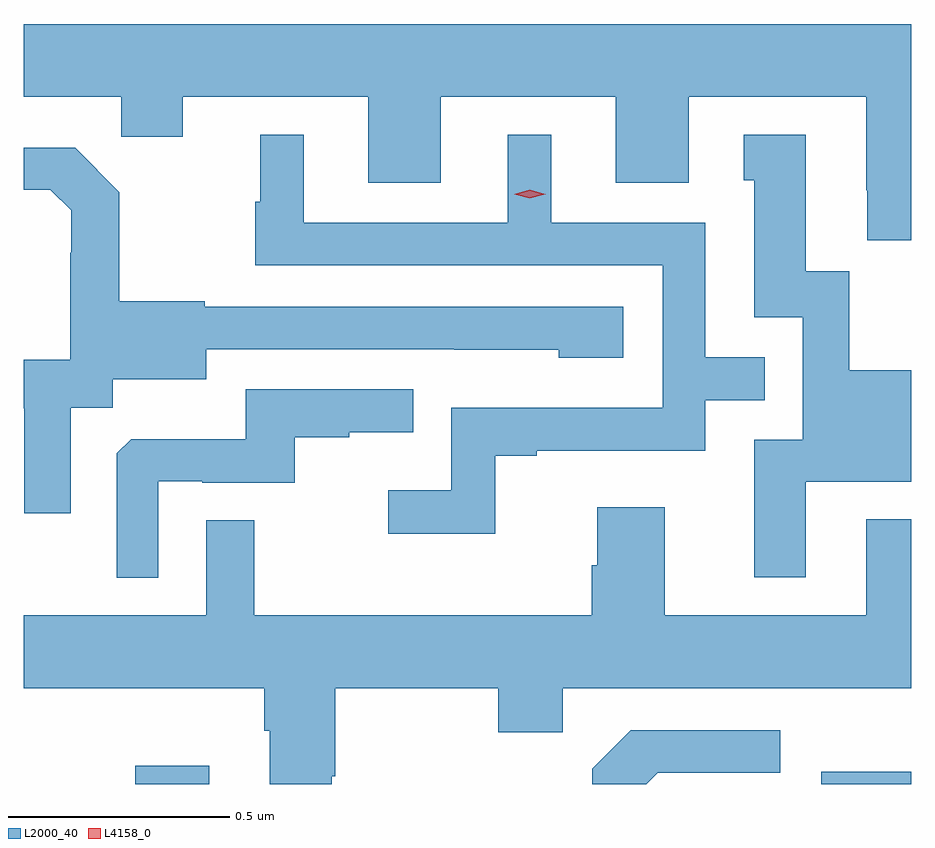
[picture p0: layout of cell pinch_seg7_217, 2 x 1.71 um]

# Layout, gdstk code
import gdstk
lib = gdstk.Library(unit=1e-6, precision=1e-09)
def R(c, l, rs):  # rectangles x0, y0, x1, y1
    for r in rs: c.add(gdstk.rectangle(r[:2], r[2:], *l))
def P(c, l, *ps):  # polygons
    for p in ps: c.add(gdstk.Polygon(p, *l))
L2000_40 = (2000, 40)
L4158_0 = (4158, 0)

pinch_seg7_217 = lib.new_cell('pinch_seg7_217')
R(pinch_seg7_217, L2000_40, [(717.686,1011.056,717.853,1011.097), (719.232,1011.056,719.435,1011.084)])
P(pinch_seg7_217, L2000_40, [(719.435,1012.768),(717.435,1012.768),(717.435,1012.604),(717.655,1012.604),(717.655,1012.514),(717.793,1012.514),(717.793,1012.604),(718.211,1012.604),(718.211,1012.41),(718.375,1012.41),(718.375,1012.604),(718.769,1012.604),(718.769,1012.41),(718.933,1012.41),(718.933,1012.604),(719.333,1012.604),(719.333,1012.393),(719.336,1012.393),(719.336,1012.281),(719.435,1012.281)],
  [(718.497,1011.795),(718.591,1011.795),(718.591,1011.807),(718.971,1011.807),(718.971,1011.921),(719.105,1011.921),(719.105,1012.017),(718.971,1012.017),(718.971,1012.32),(718.624,1012.32),(718.624,1012.519),(718.526,1012.519),(718.526,1012.32),(718.066,1012.32),(718.066,1012.519),(717.968,1012.519),(717.968,1012.368),(717.957,1012.368),(717.957,1012.224),(718.875,1012.224),(718.875,1011.903),(718.398,1011.903),(718.398,1011.718),(718.257,1011.718),(718.257,1011.62),(718.497,1011.62)],
  [(719.197,1011.737),(719.435,1011.737),(719.435,1011.988),(719.295,1011.988),(719.295,1012.211),(719.197,1012.211),(719.197,1012.519),(719.057,1012.519),(719.057,1012.416),(719.081,1012.416),(719.081,1012.107),(719.19,1012.107),(719.19,1011.831),(719.081,1011.831),(719.081,1011.522),(719.197,1011.522)],
  [(717.541,1011.904),(717.636,1011.904),(717.636,1011.968),(717.847,1011.968),(717.847,1012.035),(718.405,1012.035),(718.405,1012.034),(718.641,1012.034),(718.641,1012.016),(718.786,1012.016),(718.786,1012.131),(717.843,1012.131),(717.843,1012.144),(717.651,1012.144),(717.651,1012.389),(717.551,1012.489),(717.435,1012.489),(717.435,1012.395),(717.495,1012.395),(717.542,1012.348),(717.542,1012.253),(717.54,1012.253),(717.54,1012.012),(717.435,1012.012),(717.435,1011.902),(717.437,1011.902),(717.437,1011.666),(717.541,1011.666)],
  [(717.738,1011.738),(717.838,1011.738),(717.838,1011.735),(718.046,1011.735),(718.046,1011.837),(718.169,1011.837),(718.169,1011.848),(718.313,1011.848),(718.313,1011.945),(717.936,1011.945),(717.936,1011.833),(717.677,1011.833),(717.645,1011.801),(717.645,1011.521),(717.738,1011.521)],
  [(718.129,1011.073),(718.137,1011.073),(718.137,1011.272),(718.504,1011.272),(718.504,1011.173),(718.65,1011.173),(718.65,1011.272),(719.435,1011.272),(719.435,1011.652),(719.333,1011.652),(719.333,1011.436),(718.879,1011.436),(718.879,1011.679),(718.727,1011.679),(718.727,1011.549),(718.715,1011.549),(718.715,1011.436),(717.955,1011.436),(717.955,1011.65),(717.846,1011.65),(717.846,1011.436),(717.435,1011.436),(717.435,1011.272),(717.977,1011.272),(717.977,1011.176),(717.989,1011.176),(717.989,1011.056),(718.129,1011.056)],
  [(718.863,1011.081),(719.14,1011.081),(719.14,1011.177),(718.803,1011.177),(718.716,1011.09),(718.716,1011.056),(718.838,1011.056)])
P(pinch_seg7_217, L4158_0, [(718.575,1012.375),(718.54,1012.385),(718.539,1012.385),(718.54,1012.385),(718.575,1012.395),(718.61,1012.385),(718.611,1012.385),(718.61,1012.385)])

lib.write_gds('pinch_seg7_217.gds')
